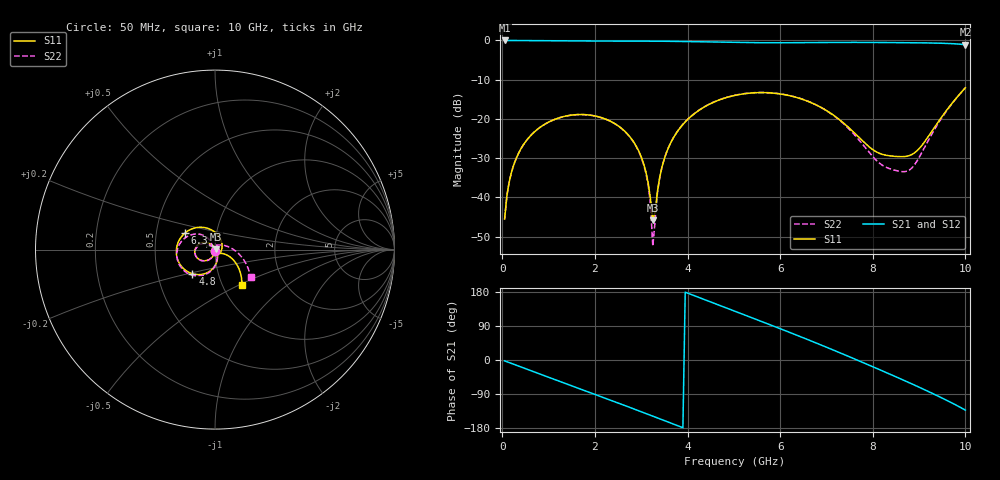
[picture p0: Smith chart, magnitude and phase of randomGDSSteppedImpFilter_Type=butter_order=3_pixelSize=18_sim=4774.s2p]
! freq	dB(S11)	phase(S11)	dB(S12)	phase(S12)
!  dB(S21)	phase(S21)	dB(S22)	phase(S22)
!S-par simulation data
#  GHz  S  DB  R 50
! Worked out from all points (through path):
!   200 points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, 50 MHz to 10 GHz, reference 50 ohm
!   highest |S21| = 0.00 dB at 50 MHz (marker M1); lowest = -1.1 dB at 10 GHz (marker M2)
!   group delay of S21, straight-line fit = 134 ps
!   lowest |S11| = -45.8 dB at 3.25 GHz (marker M3), VSWR 1.01, Z = 50.3 + j0.411 ohm
!   |S11| at or under -10 dB: start of sweep to end of sweep
!   |S22| runs from -52.4 to -12.0 dB; largest |S21 - S12| = 0
!   S11 on the Smith chart (normalised r, x): 50 MHz: 1.00, -0.01; 4.8 GHz: 0.75, -0.21; 6.3 GHz: 0.70, +0.13; 10 GHz: 1.23, -0.52
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0.05  -45.53 -91.9  -0.00 -2.3  -0.00 -2.3  -45.53 -91.8
0.2  -33.54 -99.4  -0.02 -9.2  -0.02 -9.2  -33.54 -99.1
0.5  -25.86 -113.6  -0.04 -22.9  -0.04 -22.9  -25.86 -112.9
1.05  -20.53 -139.4  -0.09 -47.8  -0.09 -47.8  -20.53 -137.9
1.75  -18.89 -172.0  -0.14 -79.3  -0.14 -79.3  -18.90 -169.1
2.45  -21.36 154.7  -0.16 -111.1  -0.16 -111.1  -21.39 159.9
2.9  -27.13 130.6  -0.16 -131.8  -0.16 -131.8  -27.22 140.5
3.15  -36.31 107.1  -0.17 -143.5  -0.17 -143.5  -36.87 133.0
3.2  -40.41 93.2  -0.18 -145.8  -0.18 -145.8  -41.78 135.1
3.25  -45.81 52.8  -0.18 -148.2  -0.18 -148.2  -52.45 169.4
3.4  -34.83 -52.4  -0.19 -155.2  -0.19 -155.2  -34.91 -68.7
3.85  -22.13 -85.4  -0.26 -176.4  -0.26 -176.4  -22.09 -85.8
4.8  -14.70 -133.0  -0.46 139.0  -0.46 139.0  -14.66 -128.1
5.05  -13.94 -145.2  -0.51 127.4  -0.51 127.4  -13.90 -139.2
5.7  -13.32 -177.3  -0.59 96.9  -0.59 96.9  -13.29 -167.9
6.3  -14.36 151.5  -0.58 68.3  -0.58 68.3  -14.33 166.0
6.7  -16.01 129.0  -0.54 48.7  -0.54 48.7  -16.00 149.1
7.55  -22.98 67.9  -0.49 5.7  -0.49 5.7  -23.34 120.4
8.35  -29.39 -27.3  -0.54 -36.3  -0.54 -36.3  -32.64 134.1
8.8  -29.31 -40.1  -0.58 -60.6  -0.58 -60.6  -32.96 90.9
9.25  -23.60 -24.4  -0.65 -85.9  -0.65 -85.9  -24.40 21.5
10  -12.06 -53.2  -1.12 -132.3  -1.12 -132.3  -12.04 -37.6
